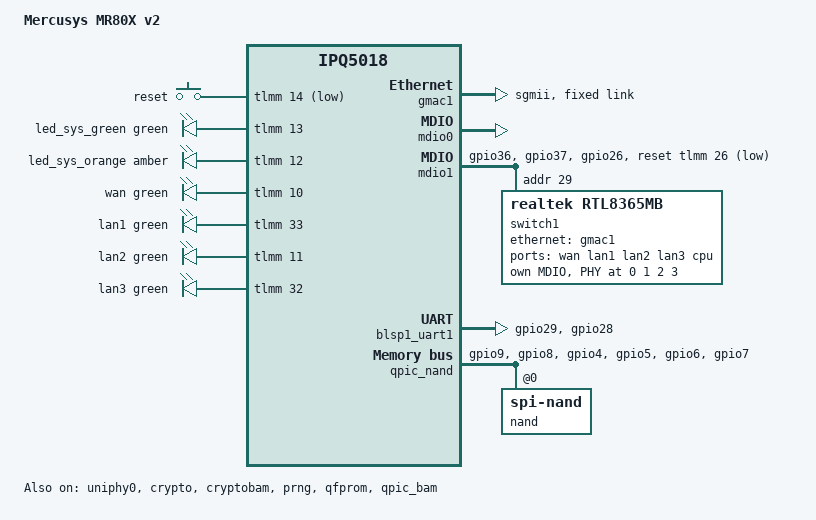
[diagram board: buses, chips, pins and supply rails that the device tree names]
// SPDX-License-Identifier: GPL-2.0-or-later OR MIT

/dts-v1/;

#include "ipq5018.dtsi"
#include "ipq5018-ess.dtsi"
#include "ipq5018-qcn6122.dtsi"

#include <dt-bindings/gpio/gpio.h>
#include <dt-bindings/input/input.h>
#include <dt-bindings/leds/common.h>
#include <dt-bindings/net/qca-uniphy.h>

/ {
	model = "Mercusys MR80X v2";
	compatible = "mercusys,mr80x-v2", "qcom,ipq5018";

	aliases {
		led-boot = &led_sys_green;
		led-failsafe = &led_sys_orange;
		led-running = &led_sys_green;
		led-upgrade = &led_sys_orange;
		serial0 = &blsp1_uart1;
		ethernet1 = &gmac1;
	};

	chosen {
		stdout-path = "serial0:115200n8";
		/* U-Boot hardcodes root=mtd:ubi_rootfs; override it */
		bootargs-append = " root=/dev/ubiblock0_1 coherent_pool=2M";
	};

	/*
	 * Single button for both reset and WPS on the factory firmware.
	 * WPS is deprecated, only expose as reset button.
	 */
	keys {
		compatible = "gpio-keys";
		pinctrl-0 = <&button_pins>;
		pinctrl-names = "default";

		reset-button {
			label = "reset";
			gpios = <&tlmm 14 GPIO_ACTIVE_LOW>;
			linux,code = <KEY_RESTART>;
		};
	};

	leds {
		compatible = "gpio-leds";

		led_sys_green: sys-green {
			color = <LED_COLOR_ID_GREEN>;
			function = LED_FUNCTION_POWER;
			gpios = <&tlmm 13 GPIO_ACTIVE_HIGH>;
			default-state = "on";
		};

		led_sys_orange: sys-orange {
			color = <LED_COLOR_ID_AMBER>;
			function = LED_FUNCTION_STATUS;
			gpios = <&tlmm 12 GPIO_ACTIVE_HIGH>;
		};

		wan {
			color = <LED_COLOR_ID_GREEN>;
			function = LED_FUNCTION_WAN;
			gpios = <&tlmm 10 GPIO_ACTIVE_HIGH>;
		};

		lan1 {
			color = <LED_COLOR_ID_GREEN>;
			function = LED_FUNCTION_LAN;
			function-enumerator = <1>;
			gpios = <&tlmm 33 GPIO_ACTIVE_HIGH>;
		};

		lan2 {
			color = <LED_COLOR_ID_GREEN>;
			function = LED_FUNCTION_LAN;
			function-enumerator = <2>;
			gpios = <&tlmm 11 GPIO_ACTIVE_HIGH>;
		};

		lan3 {
			color = <LED_COLOR_ID_GREEN>;
			function = LED_FUNCTION_LAN;
			function-enumerator = <3>;
			gpios = <&tlmm 32 GPIO_ACTIVE_HIGH>;
		};
	};

};

/*
 * ===============================================================
 *     _______________________         _______________________
 *    |        IPQ5018        |       |       RTL8367S        |
 *    | +------+   +--------+ |       | +--------+   +------+ |
 *    | | MAC0 |---| GE Phy | |       | |  Phy0  |---| Port1| |
 *    | +------+   +--------+ |       | +--------+   +------+ |
 *    | +------+   +--------+ |       | +--------+   +------+ |
 *    | | MAC1 |---| Uniphy |-+-SGMII-+-| ExtPort|---| Port6| |
 *    | +------+   +--------+ |       | +--------+   +------+ |
 *    |_______________________|       | | Phy1-3 |---| P2-4 | |
 *                                    | +--------+   +------+ |
 *                                    |_______________________|
 *
 * IPQ5018 MAC0 -> internal GePHY (phy@7), left disabled: no RJ45 is
 *                 wired to it, all four ports hang off the switch
 * IPQ5018 MAC1 -> Uniphy SGMII -> RTL8367S Port6 (CPU port)
 * RTL8367S Phy0-3 -> Ports 1-4 -> LAN/WAN
 * RTL8367S managed via MDIO1 @90000
 * ===============================================================
 */

&uniphy0 {
	status = "okay";

	assigned-clocks = <&uniphy0 UNIPHY_CLK_REF>;
	assigned-clock-rates = <UNIPHY_REFCLK_25MHZ>;
};

// MAC1 ---sgmii (UNIPHY PCS)---> RTL8367S Port6 (CPU port)
&gmac1 {
	status = "okay";

	phy-mode = "sgmii";

	fixed-link {
		speed = <1000>;
		full-duplex;
	};
};

&mdio0 {
	status = "okay";
};

&mdio1 {
	status = "okay";

	pinctrl-0 = <&mdio1_pins>, <&switch_reset_pins>;
	pinctrl-names = "default";
	reset-gpios = <&tlmm 26 GPIO_ACTIVE_LOW>;

	/* RTL8367S switch (Realtek RTL8365MB-compatible) via MDIO */
	switch1: ethernet-switch@1d {
		compatible = "realtek,rtl8365mb";
		reg = <29>;

		/*
		 * Internal MDIO bus for RTL8367S built-in PHYs.
		 * The rtl8365mb driver creates a user MDIO bus from
		 * this subnode via rtl83xx_setup_user_mdio().
		 */
		mdio {
			#address-cells = <1>;
			#size-cells = <0>;

			rtl8367s_0: ethernet-phy@0 {
				reg = <0>;
			};

			rtl8367s_1: ethernet-phy@1 {
				reg = <1>;
			};

			rtl8367s_2: ethernet-phy@2 {
				reg = <2>;
			};

			rtl8367s_3: ethernet-phy@3 {
				reg = <3>;
			};
		};

		ports {
			#address-cells = <1>;
			#size-cells = <0>;

			port@0 {
				reg = <0>;
				label = "wan";
				phy-handle = <&rtl8367s_0>;
			};

			port@1 {
				reg = <1>;
				label = "lan1";
				phy-handle = <&rtl8367s_1>;
			};

			port@2 {
				reg = <2>;
				label = "lan2";
				phy-handle = <&rtl8367s_2>;
			};

			port@3 {
				reg = <3>;
				label = "lan3";
				phy-handle = <&rtl8367s_3>;
			};

			port@6 {
				reg = <6>;
				label = "cpu";
				phy-mode = "sgmii";
				ethernet = <&gmac1>;

				fixed-link {
					speed = <1000>;
					full-duplex;
				};
			};
		};
	};
};

&sleep_clk {
	clock-frequency = <32000>;
};

&xo_board_clk {
	clock-div = <4>;
	clock-mult = <1>;
};

&blsp1_uart1 {
	status = "okay";

	pinctrl-0 = <&serial_0_pins>;
	pinctrl-names = "default";
};

&crypto {
	status = "okay";
};

&cryptobam {
	status = "okay";
};

&prng {
	status = "okay";
};

&qfprom {
	status = "okay";
};

&qpic_bam {
	status = "okay";
};

&qpic_nand {
	pinctrl-0 = <&qpic_pins>;
	pinctrl-names = "default";
	status = "okay";

	nand@0 {
		compatible = "spi-nand";
		reg = <0>;
		nand-ecc-engine = <&qpic_nand>;
		nand-bus-width = <8>;

		partitions {
			compatible = "qcom,smem-part";
		};
	};
};

&tlmm {
	button_pins: button-state {
		pins = "gpio14";
		function = "gpio";
		drive-strength = <8>;
		bias-pull-up;
	};

	mdio1_pins: mdio-state {
		mdc-pins {
			pins = "gpio36";
			function = "mdc";
			drive-strength = <8>;
			bias-pull-up;
		};

		mdio-pins {
			pins = "gpio37";
			function = "mdio";
			drive-strength = <8>;
			bias-pull-up;
		};
	};

	switch_reset_pins: switch-reset-state {
		pins = "gpio26";
		function = "gpio";
		drive-strength = <8>;
		bias-pull-down;
	};

	qpic_pins: qpic-state {
		clock-pins {
			pins = "gpio9";
			function = "qspi_clk";
			drive-strength = <8>;
			bias-disable;
		};

		cs-pins {
			pins = "gpio8";
			function = "qspi_cs";
			drive-strength = <8>;
			bias-disable;
		};

		data-pins {
			pins = "gpio4", "gpio5", "gpio6", "gpio7";
			function = "qspi_data";
			drive-strength = <8>;
			bias-disable;
		};
	};

	serial_0_pins: uart0-state {
		tx-pins {
			pins = "gpio29";
			function = "blsp0_uart1";
			drive-strength = <8>;
			bias-disable;
			output-high;
		};

		rx-pins {
			pins = "gpio28";
			function = "blsp0_uart1";
			drive-strength = <8>;
			bias-disable;
			input-enable;
		};
	};
};

/*
 * q6_region size (48MB) is already set by ipq5018-qcn6122.dtsi.
 *
 * ath11k Wi-Fi consumes too large memory spaces and too few spaces are
 * available for users. To prevent OOM when using LuCI or other softwares,
 * disable Wi-Fi related peripherals at the moment.
 */
&q6v5_wcss {
	status = "disabled";

	firmware-name = "ath11k/IPQ5018/hw1.0/q6_fw.mdt",
			"ath11k/IPQ5018/hw1.0/m3_fw.mdt",
			"ath11k/QCN6122/hw1.0/m3_fw.mdt";
	boot-args = <0x2 0x4 0x2 0x1b 0x0 0x0>;
	/* pcie:1, len:4, updid:2, reset:gpio27 */
};

&wifi {
	status = "disabled";

	qcom,rproc = <&q6_wcss_pd1>;
	qcom,ath11k-fw-memory-mode = <2>;
	qcom,bdf-addr = <0x4c400000>;
	qcom,ath11k-calibration-variant = "Mercusys-MR80X-v2";

	ieee80211-freq-limit = <2400000 2483000>;
};

&wifi1 {
	status = "disabled";

	qcom,rproc = <&q6_wcss_pd2>;
	qcom,userpd-subsys-name = "q6v5_wcss_userpd2";
	qcom,ath11k-fw-memory-mode = <2>;
	qcom,bdf-addr = <0x4d100000>;
	qcom,m3-dump-addr = <0x4df00000>;
	qcom,ath11k-calibration-variant = "Mercusys-MR80X-v2";

	ieee80211-freq-limit = <5150000 5730000>;
};
